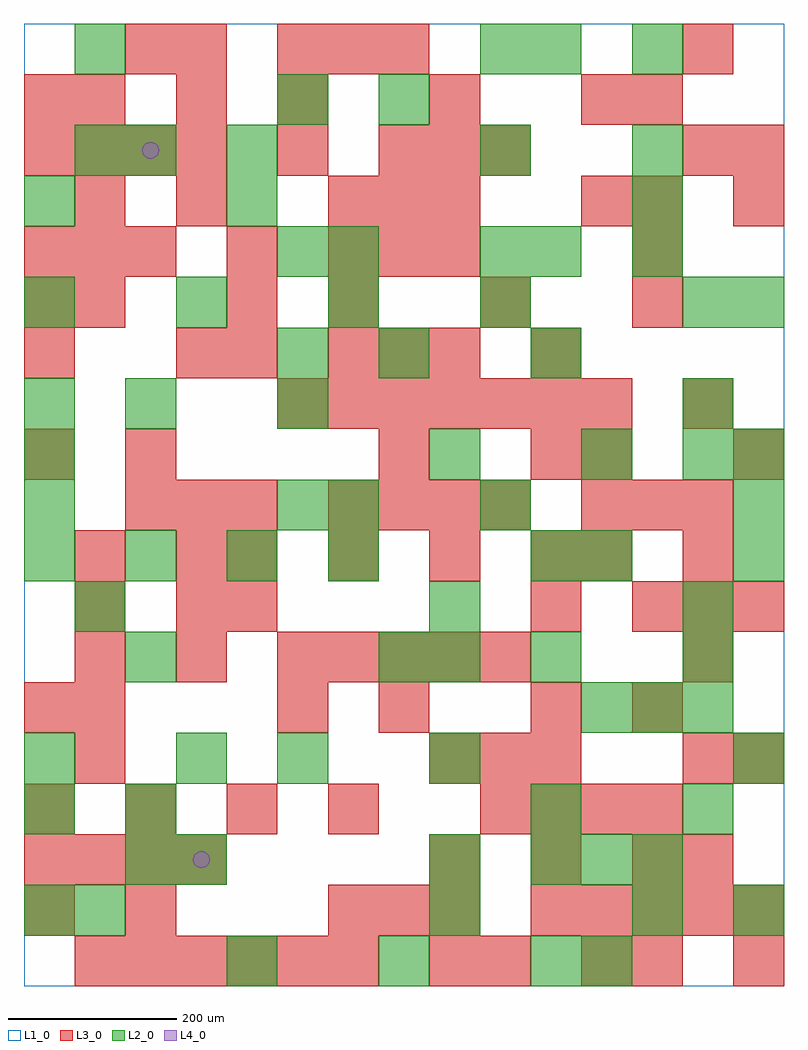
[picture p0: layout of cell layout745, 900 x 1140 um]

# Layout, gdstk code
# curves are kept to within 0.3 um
import gdstk
lib = gdstk.Library(unit=1e-6, precision=1e-09)
def R(c, l, rs):  # rectangles x0, y0, x1, y1
    for r in rs: c.add(gdstk.rectangle(r[:2], r[2:], *l))
def A(c, l, x, y, w, h, nx, ny, dx, dy):  # array of equal rectangles
    R(c, l, [(x+i*dx, y+j*dy, x+i*dx+w, y+j*dy+h) for i in range(nx) for j in range(ny)])
def P(c, l, *ps):  # polygons
    for p in ps: c.add(gdstk.Polygon(p, *l))
L1_0 = (1, 0)
L2_0 = (2, 0)
L3_0 = (3, 0)
L4_0 = (4, 0)

layout745 = lib.new_cell('layout745')
R(layout745, L1_0, [(0,0,900,1140)])
A(layout745, L2_0, 240, 0, 60, 60, 3, 1, 180, 0)
A(layout745, L2_0, 480, 120, 60, 60, 1, 3, 0, 120)
A(layout745, L2_0, 600, 120, 60, 60, 3, 1, 60, 0)
A(layout745, L2_0, 660, 300, 60, 60, 3, 1, 60, 0)
A(layout745, L2_0, 120, 360, 60, 60, 1, 3, 0, 300)
A(layout745, L2_0, 0, 480, 60, 60, 4, 1, 120, 0)
A(layout745, L2_0, 840, 480, 60, 60, 1, 3, 0, 60)
A(layout745, L2_0, 0, 540, 60, 60, 1, 3, 0, 60)
A(layout745, L2_0, 0, 780, 60, 60, 4, 1, 180, 0)
A(layout745, L2_0, 540, 840, 60, 60, 1, 3, 0, 120)
A(layout745, L2_0, 720, 840, 60, 60, 1, 3, 0, 60)
R(layout745, L2_0, [(660,0,720,60), (0,60,60,120), (60,60,120,120), (480,60,540,120), (720,60,780,120), (840,60,900,120), (120,120,180,180), (180,120,240,180), (0,180,60,240), (120,180,180,240), (600,180,660,240), (780,180,840,240), (0,240,60,300), (180,240,240,300), (300,240,360,300), (840,240,900,300), (420,360,480,420), (600,360,660,420), (780,360,840,420), (60,420,120,480), (480,420,540,480), (780,420,840,480), (600,480,660,540), (660,480,720,540), (300,540,360,600), (360,540,420,600), (540,540,600,600), (480,600,540,660), (660,600,720,660), (780,600,840,660), (300,660,360,720), (780,660,840,720), (300,720,360,780), (420,720,480,780), (600,720,660,780), (780,780,840,840), (840,780,900,840), (300,840,360,900), (360,840,420,900), (600,840,660,900), (0,900,60,960), (240,900,300,960), (60,960,120,1020), (240,960,300,1020), (300,1020,360,1080), (420,1020,480,1080), (60,1080,120,1140), (600,1080,660,1140), (720,1080,780,1140)])
A(layout745, L3_0, 60, 0, 60, 60, 6, 1, 60, 0)
A(layout745, L3_0, 360, 60, 60, 60, 3, 2, 60, 660)
A(layout745, L3_0, 600, 60, 60, 60, 5, 1, 60, 0)
A(layout745, L3_0, 0, 120, 60, 60, 4, 2, 60, 840)
A(layout745, L3_0, 480, 120, 60, 60, 3, 1, 120, 0)
A(layout745, L3_0, 780, 120, 60, 60, 1, 4, 0, 120)
A(layout745, L3_0, 0, 180, 60, 60, 4, 1, 120, 0)
A(layout745, L3_0, 540, 180, 60, 60, 4, 1, 60, 0)
A(layout745, L3_0, 480, 240, 60, 60, 3, 1, 60, 0)
A(layout745, L3_0, 60, 360, 60, 60, 3, 2, 120, 660)
A(layout745, L3_0, 360, 360, 60, 60, 4, 2, 60, 180)
A(layout745, L3_0, 720, 420, 60, 60, 3, 1, 60, 0)
A(layout745, L3_0, 240, 480, 60, 60, 4, 1, 120, 0)
A(layout745, L3_0, 120, 540, 60, 60, 3, 1, 60, 0)
A(layout745, L3_0, 660, 540, 60, 60, 3, 1, 60, 0)
A(layout745, L3_0, 300, 660, 60, 60, 7, 1, 60, 0)
A(layout745, L3_0, 180, 720, 60, 60, 1, 3, 0, 180)
A(layout745, L3_0, 240, 720, 60, 60, 1, 3, 0, 60)
A(layout745, L3_0, 360, 780, 60, 60, 3, 1, 180, 0)
A(layout745, L3_0, 0, 840, 60, 60, 3, 1, 60, 0)
A(layout745, L3_0, 360, 840, 60, 60, 3, 2, 60, 60)
A(layout745, L3_0, 420, 960, 60, 60, 3, 1, 60, 0)
A(layout745, L3_0, 300, 1080, 60, 60, 3, 1, 60, 0)
R(layout745, L3_0, [(480,0,540,60), (540,0,600,60), (660,0,720,60), (720,0,780,60), (840,0,900,60), (0,60,60,120), (120,60,180,120), (60,240,120,300), (840,240,900,300), (0,300,60,360), (60,300,120,360), (300,300,360,360), (420,300,480,360), (600,300,660,360), (720,300,780,360), (60,420,120,480), (180,420,240,480), (240,420,300,480), (600,420,660,480), (60,480,120,540), (180,480,240,540), (660,480,720,540), (0,600,60,660), (120,600,180,660), (420,600,480,660), (600,600,660,660), (660,600,720,660), (840,600,900,660), (780,660,840,720), (0,720,60,780), (600,720,660,780), (0,780,60,840), (60,780,120,840), (720,840,780,900), (60,900,120,960), (660,900,720,960), (720,900,780,960), (840,900,900,960), (300,960,360,1020), (780,960,840,1020), (840,960,900,1020), (0,1020,60,1080), (480,1020,540,1080), (660,1020,720,1080), (720,1020,780,1080), (120,1080,180,1140), (780,1080,840,1140)])
P(layout745, L4_0, [(160,990),(159.239,993.827),(157.071,997.071),(153.827,999.239),(150,1000),(146.173,999.239),(142.929,997.071),(140.761,993.827),(140,990),(140.761,986.173),(142.929,982.929),(146.173,980.761),(150,980),(153.827,980.761),(157.071,982.929),(159.239,986.173)],
  [(220,150),(219.239,153.827),(217.071,157.071),(213.827,159.239),(210,160),(206.173,159.239),(202.929,157.071),(200.761,153.827),(200,150),(200.761,146.173),(202.929,142.929),(206.173,140.761),(210,140),(213.827,140.761),(217.071,142.929),(219.239,146.173)])

lib.write_gds('layout745.gds')
